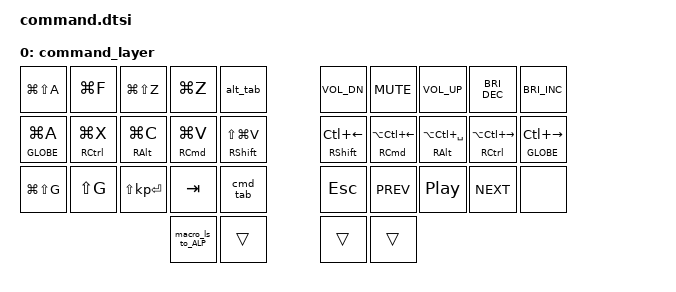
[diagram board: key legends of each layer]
/*
 * Copyright (c) 2020 The ZMK Contributors
 *
 * SPDX-License-Identifier: MIT
 */

/*           34 Keys
 ╭──────────────╮ ╭──────────────╮
 │ 0  1  2  3  4│ │ 5  6  7  8  9│
 │10 11 12 13 14│ │15 16 17 18 19│
 │20 21 22 23 24│ │25 26 27 28 29│
 ╰────────╮30 31│ │32 33╭────────╯
          ╰─────╯ ╰─────╯         */
/* Pressing REP+ 
 ╭──────────────────────────────────────────────────────────╮ ╭─────────────────────────────────────────────╮
 │ find_all    find       redo       undo        switch_win │ │ Vol+    Mute   Vol-        Bright+  Bright- │
 │ select_all  cut/LCTRL  copy/LALT  paste/LCOM  past_H/LSFT│ │ <-Desk  <-Win  WinMid      Win->    Desk->  │
 │ find_prv    find_next  Enter      TAB         switch_app │ │ ESC     prev   Play/Pause  next      _      │
 ╰──────────────────────────────────╮ALP/SYM     ⌫ Word/NUM │ │ redo/⏎  REP╭────────────────────────────────╯
                                    ╰───────────────────────╯ ╰────────────╯         
*/
&key_repeat {
    usage-pages = <HID_USAGE_KEY HID_USAGE_CONSUMER>;
};
/ {
    keymap {
        compatible = "zmk,keymap";
        command_layer {
            bindings = <
//╭──────────────────┬───────────────────┬──────────────────┬──────────────────┬───────────────────────╮╭─────────────────────┬─────────────────────────┬──────────────────────────┬───────────────────────────┬───────────────────────╮
   &kp LG(LS(A))       &kp LG(F)           &kp LG(LS(Z))      &kp LG(Z)          &alt_tab                &kp K_VOL_DN           &kp K_MUTE                &kp K_VOL_UP               &kp C_BRIGHTNESS_DEC        &kp C_BRIGHTNESS_INC
//├──────────────────┼───────────────────┼──────────────────┼──────────────────┼───────────────────────┤├─────────────────────┼─────────────────────────┼──────────────────────────┼───────────────────────────┼───────────────────────┤
   &hrm_l GLOBE LG(A)  &hrm_l RCTRL LG(X)  &hrm_l RALT LG(C)  &hrm_l RCMD LG(V)  &hrm_l RSHFT LS(LG(V))  &hrm_r RSHFT LC(LEFT)  &hrm_r RCMD LA(LC(LEFT))  &hrm_r RALT LA(LC(SPACE))  &hrm_r RCTRL LA(LC(RIGHT))  &hrm_r GLOBE LC(RIGHT)
//├──────────────────┼───────────────────┼──────────────────┼──────────────────┼───────────────────────┤├─────────────────────┼─────────────────────────┼──────────────────────────┼───────────────────────────┼───────────────────────┤
   &kp LG(LS(G))       &kp LS(G)           &kp LS(KP_ENTER)   &kp TAB            &cmd_tab                &kp ESC                &kp K_PREV                &kp C_PLAY_PAUSE           &kp K_NEXT                  &none
//╰──────────────────┴───────────────────┴──────────────────╮                                          ││                                               ╭──────────────────────────┴───────────────────────────┴───────────────────────╯
                                                              &macro_ls_to_ALP            &trans                  &trans                 &trans
//                                                          ╰──────────────────┴───────────────────────╯╰─────────────────────┴─────────────────────────╯
            >;
        };
    };

};

// COMBO_LONG_MAC(find_all_mac, &kp LG(LS(A)), LTO LTP)
// COMBO_LONG_WIN(find_all_win, &kp LC(LS(A)), LTO LTP)
// COMBO_LONG(find_prv, &kp LS(KP_ENTER), LTO LMP)
// COMBO_LONG_MAC(select_all_mac, &kp LG(A), LTO LBP)
// COMBO_LONG_WIN(select_all_win, &kp LC(A), LTO LBP)
// COMBO_LONG_MAC(find_mac, &kp LG(F), LTO LTR)
// COMBO_LONG_WIN(find_win, &kp LC(F), LTO LTR)
// COMBO_LONG_MAC(cut_mac, &kp LG(X), LTO LBR)
// COMBO_LONG_WIN(cut_win, &kp LC(X), LTO LBR)
// COMBO_LONG_MAC(copy_mac, &kp LG(C), LTO LBM)
// COMBO_LONG_WIN(copy_win, &kp LC(C), LTO LBM)
// COMBO_LONG_MAC(paste_mac, &kp LG(V), LTO LBII)
// COMBO_LONG_WIN(paste_win, &kp LC(V), LTO LBII)
// COMBO_LONG_MAC(switch_window_mac, &kp LG(GRAVE), LTO LBIO)
// COMBO_LONG_MAC(redo_mac, &kp LG(LS(Z)), LTO LTM)
// COMBO_LONG_WIN(redo_win, &kp LC(LS(Z)), LTO LTM)
// COMBO_LONG_MAC(undo_mac, &kp LG(Z), LTO LTII)
// COMBO_LONG_WIN(undo_win, &kp LC(Z), LTO LTII)
// COMBO_LONG_MAC(switch_app_mac, &kp LG(TAB), LTO LTIO)
// COMBO_LONG_WIN(switch_app_win, &kp LA(TAB), LTO LTIO)
// COMBO_LONG(Tab, &kp TAB, LTO LMIO)
// COMBO_LONG(ESC, &kp ESC, LTO RMIO)
//    
// COMBO_LONG(LCTR, &sk LCTRL, LTO LMR)
// COMBO_LONG(LALT, &sk LALT, LTO LMM)
// COMBO_LONG(LCOM, &sk LCOM, LTO LMII)
// COMBO_LONG(RCOM, &sk RCOM, LTO RMII)
// COMBO_LONG(RALT, &sk RALT, LTO RMM)
// COMBO_LONG(RCTR, &sk RCTRL, LTO RMR)
// 
// COMBO_LONG(L2, &to 2, LTO RTI)
